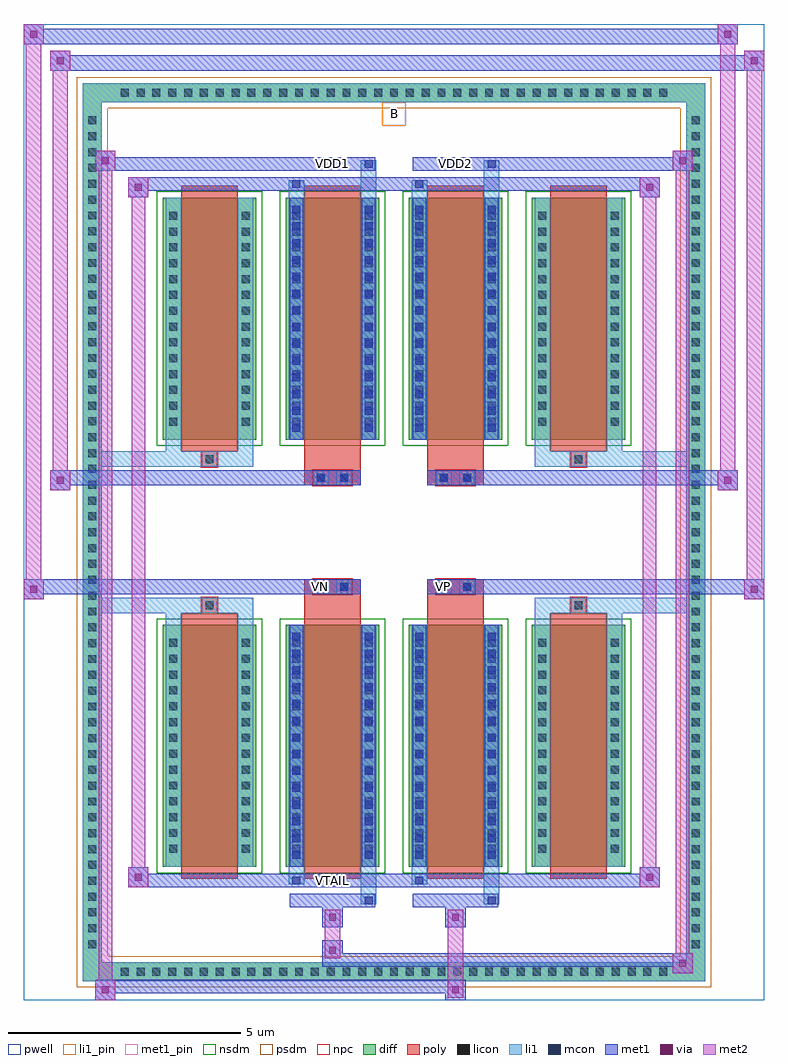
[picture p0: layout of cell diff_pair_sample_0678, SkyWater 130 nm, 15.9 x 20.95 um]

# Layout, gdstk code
import gdstk
lib = gdstk.Library(unit=1e-6, precision=5e-09)
def R(c, l, rs):  # rectangles x0, y0, x1, y1
    for r in rs: c.add(gdstk.rectangle(r[:2], r[2:], *l))
def A(c, l, x, y, w, h, nx, ny, dx, dy):  # array of equal rectangles
    R(c, l, [(x+i*dx, y+j*dy, x+i*dx+w, y+j*dy+h) for i in range(nx) for j in range(ny)])
def P(c, l, *ps):  # polygons
    for p in ps: c.add(gdstk.Polygon(p, *l))
pwell = (64, 44)
diff = (65, 20)
poly = (66, 20)
licon = (66, 44)
li1_pin = (67, 16)
li1 = (67, 20)
mcon = (67, 44)
met1_pin = (68, 16)
met1 = (68, 20)
via = (68, 44)
met2 = (69, 20)
nsdm = (93, 44)
psdm = (94, 20)
npc = (95, 20)

diff_pair_sample_0678 = lib.new_cell('diff_pair_sample_0678')
R(diff_pair_sample_0678, pwell, [(-7.95,-10.04,7.95,10.91), (-5.27,-8.23,-0.01,-0.805), (0.01,-8.23,5.27,-0.805), (-5.27,0.805,-0.01,8.23), (0.01,0.805,5.27,8.23)])
A(diff_pair_sample_0678, diff, -5.985, -9.64, 0.41, 0.41, 35, 2, 0.34, 18.87)
A(diff_pair_sample_0678, diff, -6.68, -9.045, 0.41, 0.41, 1, 53, 0, 0.34)
A(diff_pair_sample_0678, diff, 6.27, -9.045, 0.41, 0.41, 1, 53, 0, 0.34)
A(diff_pair_sample_0678, diff, -4.96, -7.185, 2, 5.2, 4, 2, 2.64, 9.17)
R(diff_pair_sample_0678, diff, [(-5.985,-9.64,5.985,-9.23), (-6.68,-9.045,-6.27,9.045), (6.27,-9.045,6.68,9.045), (-5.985,9.23,5.985,9.64)])
P(diff_pair_sample_0678, diff, [(6.68,9.64),(-6.68,9.64),(-6.68,-9.23),(-6.27,-9.23),(-6.27,9.23),(6.27,9.23),(6.27,-9.23),(-6.27,-9.23),(-6.68,-9.23),(-6.68,-9.64),(6.68,-9.64)])
A(diff_pair_sample_0678, poly, -4.57, -7.435, 1.22, 5.7, 4, 2, 2.64, 9.17)
R(diff_pair_sample_0678, poly, [(-4.125,-1.735,-3.795,-1.405), (-4.125,-1.735,-3.795,-1.405), (-1.93,-1.735,-0.71,-1.335), (0.71,-1.735,1.93,-1.335), (3.795,-1.735,4.125,-1.405), (3.795,-1.735,4.125,-1.405), (-1.93,-1.335,-0.71,-1.005), (-1.735,-1.335,-1.405,-1.005), (-1.235,-1.335,-0.905,-1.005), (0.71,-1.335,1.93,-1.005), (0.905,-1.335,1.235,-1.005), (1.405,-1.335,1.735,-1.005), (-1.93,1.005,-0.71,1.335), (-1.735,1.005,-1.405,1.335), (-1.235,1.005,-0.905,1.335), (0.71,1.005,1.93,1.335), (0.905,1.005,1.235,1.335), (1.405,1.005,1.735,1.335), (-1.93,1.335,-0.71,1.735), (0.71,1.335,1.93,1.735), (-4.125,1.405,-3.795,1.735), (-4.125,1.405,-3.795,1.735), (3.795,1.405,4.125,1.735), (3.795,1.405,4.125,1.735)])
A(diff_pair_sample_0678, licon, -5.865, -9.52, 0.17, 0.17, 35, 2, 0.34, 18.87)
A(diff_pair_sample_0678, licon, -6.56, -8.925, 0.17, 0.17, 1, 53, 0, 0.34)
A(diff_pair_sample_0678, licon, 6.39, -8.925, 0.17, 0.17, 1, 53, 0, 0.34)
A(diff_pair_sample_0678, licon, -4.82, -6.88, 0.17, 0.17, 1, 14, 0, 0.34)
A(diff_pair_sample_0678, licon, -3.27, -6.88, 0.17, 0.17, 1, 14, 0, 0.34)
A(diff_pair_sample_0678, licon, -2.18, -6.88, 0.17, 0.17, 1, 14, 0, 0.34)
A(diff_pair_sample_0678, licon, -0.63, -6.88, 0.17, 0.17, 1, 14, 0, 0.34)
A(diff_pair_sample_0678, licon, 0.46, -6.88, 0.17, 0.17, 1, 14, 0, 0.34)
A(diff_pair_sample_0678, licon, 2.01, -6.88, 0.17, 0.17, 1, 14, 0, 0.34)
A(diff_pair_sample_0678, licon, 3.1, -6.88, 0.17, 0.17, 1, 14, 0, 0.34)
A(diff_pair_sample_0678, licon, 4.65, -6.88, 0.17, 0.17, 1, 14, 0, 0.34)
A(diff_pair_sample_0678, licon, -4.82, 2.29, 0.17, 0.17, 1, 14, 0, 0.34)
A(diff_pair_sample_0678, licon, -3.27, 2.29, 0.17, 0.17, 1, 14, 0, 0.34)
A(diff_pair_sample_0678, licon, -2.18, 2.29, 0.17, 0.17, 1, 14, 0, 0.34)
A(diff_pair_sample_0678, licon, -0.63, 2.29, 0.17, 0.17, 1, 14, 0, 0.34)
A(diff_pair_sample_0678, licon, 0.46, 2.29, 0.17, 0.17, 1, 14, 0, 0.34)
A(diff_pair_sample_0678, licon, 2.01, 2.29, 0.17, 0.17, 1, 14, 0, 0.34)
A(diff_pair_sample_0678, licon, 3.1, 2.29, 0.17, 0.17, 1, 14, 0, 0.34)
A(diff_pair_sample_0678, licon, 4.65, 2.29, 0.17, 0.17, 1, 14, 0, 0.34)
R(diff_pair_sample_0678, licon, [(-4.045,-1.655,-3.875,-1.485), (3.875,-1.655,4.045,-1.485), (-1.655,-1.255,-1.485,-1.085), (-1.155,-1.255,-0.985,-1.085), (0.985,-1.255,1.155,-1.085), (1.485,-1.255,1.655,-1.085), (-1.655,1.085,-1.485,1.255), (-1.155,1.085,-0.985,1.255), (0.985,1.085,1.155,1.255), (1.485,1.085,1.655,1.255), (-4.045,1.485,-3.875,1.655), (3.875,1.485,4.045,1.655)])
R(diff_pair_sample_0678, li1_pin, [(-0.25,8.73,0.25,9.23)])
A(diff_pair_sample_0678, li1, -5.945, -9.6, 0.33, 0.33, 35, 2, 0.34, 18.87)
A(diff_pair_sample_0678, li1, -6.64, -9.005, 0.33, 0.33, 1, 53, 0, 0.34)
A(diff_pair_sample_0678, li1, 6.31, -9.005, 0.33, 0.33, 1, 53, 0, 0.34)
A(diff_pair_sample_0678, li1, -2.18, -7.01, 0.17, 0.17, 1, 14, 0, 0.36)
A(diff_pair_sample_0678, li1, -0.63, -7.01, 0.17, 0.17, 1, 14, 0, 0.36)
A(diff_pair_sample_0678, li1, 0.46, -7.01, 0.17, 0.17, 1, 14, 0, 0.36)
A(diff_pair_sample_0678, li1, 2.01, -7.01, 0.17, 0.17, 1, 14, 0, 0.36)
A(diff_pair_sample_0678, li1, -4.9, -6.96, 0.33, 0.33, 1, 14, 0, 0.34)
A(diff_pair_sample_0678, li1, -3.35, -6.96, 0.33, 0.33, 1, 14, 0, 0.34)
A(diff_pair_sample_0678, li1, -2.26, -6.96, 0.33, 0.33, 1, 14, 0, 0.34)
A(diff_pair_sample_0678, li1, -0.71, -6.96, 0.33, 0.33, 1, 14, 0, 0.34)
A(diff_pair_sample_0678, li1, 0.38, -6.96, 0.33, 0.33, 1, 14, 0, 0.34)
A(diff_pair_sample_0678, li1, 1.93, -6.96, 0.33, 0.33, 1, 14, 0, 0.34)
A(diff_pair_sample_0678, li1, 3.02, -6.96, 0.33, 0.33, 1, 14, 0, 0.34)
A(diff_pair_sample_0678, li1, 4.57, -6.96, 0.33, 0.33, 1, 14, 0, 0.34)
A(diff_pair_sample_0678, li1, -2.18, 2.16, 0.17, 0.17, 1, 14, 0, 0.36)
A(diff_pair_sample_0678, li1, -0.63, 2.16, 0.17, 0.17, 1, 14, 0, 0.36)
A(diff_pair_sample_0678, li1, 0.46, 2.16, 0.17, 0.17, 1, 14, 0, 0.36)
A(diff_pair_sample_0678, li1, 2.01, 2.16, 0.17, 0.17, 1, 14, 0, 0.36)
A(diff_pair_sample_0678, li1, -4.9, 2.21, 0.33, 0.33, 1, 14, 0, 0.34)
A(diff_pair_sample_0678, li1, -3.35, 2.21, 0.33, 0.33, 1, 14, 0, 0.34)
A(diff_pair_sample_0678, li1, -2.26, 2.21, 0.33, 0.33, 1, 14, 0, 0.34)
A(diff_pair_sample_0678, li1, -0.71, 2.21, 0.33, 0.33, 1, 14, 0, 0.34)
A(diff_pair_sample_0678, li1, 0.38, 2.21, 0.33, 0.33, 1, 14, 0, 0.34)
A(diff_pair_sample_0678, li1, 1.93, 2.21, 0.33, 0.33, 1, 14, 0, 0.34)
A(diff_pair_sample_0678, li1, 3.02, 2.21, 0.33, 0.33, 1, 14, 0, 0.34)
A(diff_pair_sample_0678, li1, 4.57, 2.21, 0.33, 0.33, 1, 14, 0, 0.34)
R(diff_pair_sample_0678, li1, [(-6.68,-9.64,-6.27,-9.23), (-6.68,-9.64,-6.27,-9.23), (-6.27,-9.64,6.27,-9.23), (6.27,-9.64,6.68,-9.23), (6.27,-9.64,6.68,-9.23), (-6.68,-9.23,-6.27,9.23), (6.27,-9.23,6.68,9.23), (-0.71,-7.99,-0.38,-7.185), (-0.63,-7.99,-0.46,-7.82), (1.93,-7.99,2.26,-7.185), (2.01,-7.99,2.18,-7.82), (-2.26,-7.56,-1.93,-7.185), (-2.18,-7.56,-2.01,-7.39), (0.38,-7.56,0.71,-7.185), (0.46,-7.56,0.63,-7.39), (-4.9,-7.185,-4.57,-1.985), (-3.35,-7.185,-3.02,-1.985), (-2.26,-7.185,-1.93,-1.985), (-0.71,-7.185,-0.38,-1.985), (0.38,-7.185,0.71,-1.985), (1.93,-7.185,2.26,-1.985), (3.02,-7.185,3.35,-1.985), (4.57,-7.185,4.9,-1.985), (-2.18,-7.01,-2.01,-2.16), (-0.63,-7.01,-0.46,-2.16), (0.46,-7.01,0.63,-2.16), (2.01,-7.01,2.18,-2.16), (-4.9,-1.985,-4.57,-1.405), (-3.35,-1.985,-3.02,-1.405), (3.02,-1.985,3.35,-1.405), (4.57,-1.985,4.9,-1.405), (-6.68,-1.735,-4.125,-1.405), (-4.9,-1.735,-4.125,-1.405), (-4.125,-1.735,-3.795,-1.405), (-3.795,-1.735,-3.02,-1.405), (3.02,-1.735,3.795,-1.405), (3.795,-1.735,4.125,-1.405), (3.795,-1.735,6.68,-1.405), (4.125,-1.735,4.9,-1.405), (-1.735,-1.335,-1.405,-1.005), (-1.235,-1.335,-0.905,-1.005), (0.905,-1.335,1.235,-1.005), (1.405,-1.335,1.735,-1.005), (-1.735,1.005,-1.405,1.335), (-1.235,1.005,-0.905,1.335), (0.905,1.005,1.235,1.335), (1.405,1.005,1.735,1.335), (-6.68,1.405,-4.125,1.735), (-4.9,1.405,-4.125,1.735), (-4.9,1.405,-4.57,1.985), (-4.125,1.405,-3.795,1.735), (-3.795,1.405,-3.02,1.735), (-3.35,1.405,-3.02,1.985), (3.02,1.405,3.795,1.735), (3.02,1.405,3.35,1.985), (3.795,1.405,4.125,1.735), (3.795,1.405,6.68,1.735), (4.125,1.405,4.9,1.735), (4.57,1.405,4.9,1.985), (-4.9,1.985,-4.57,7.185), (-3.35,1.985,-3.02,7.185), (-2.26,1.985,-1.93,7.185), (-0.71,1.985,-0.38,7.185), (0.38,1.985,0.71,7.185), (1.93,1.985,2.26,7.185), (3.02,1.985,3.35,7.185), (4.57,1.985,4.9,7.185), (-2.18,2.16,-2.01,7.01), (-0.63,2.16,-0.46,7.01), (0.46,2.16,0.63,7.01), (2.01,2.16,2.18,7.01), (-2.26,7.185,-1.93,7.56), (-0.71,7.185,-0.38,7.99), (0.38,7.185,0.71,7.56), (1.93,7.185,2.26,7.99), (-2.18,7.39,-2.01,7.56), (0.46,7.39,0.63,7.56), (-0.63,7.82,-0.46,7.99), (2.01,7.82,2.18,7.99), (-6.68,9.23,-6.27,9.64), (-6.68,9.23,-6.27,9.64), (-6.27,9.23,6.27,9.64), (6.27,9.23,6.68,9.64), (6.27,9.23,6.68,9.64)])
A(diff_pair_sample_0678, mcon, -2.18, -7.01, 0.17, 0.17, 1, 14, 0, 0.36)
A(diff_pair_sample_0678, mcon, -0.63, -7.01, 0.17, 0.17, 1, 14, 0, 0.36)
A(diff_pair_sample_0678, mcon, 0.46, -7.01, 0.17, 0.17, 1, 14, 0, 0.36)
A(diff_pair_sample_0678, mcon, 2.01, -7.01, 0.17, 0.17, 1, 14, 0, 0.36)
A(diff_pair_sample_0678, mcon, -2.18, 2.16, 0.17, 0.17, 1, 14, 0, 0.36)
A(diff_pair_sample_0678, mcon, -0.63, 2.16, 0.17, 0.17, 1, 14, 0, 0.36)
A(diff_pair_sample_0678, mcon, 0.46, 2.16, 0.17, 0.17, 1, 14, 0, 0.36)
A(diff_pair_sample_0678, mcon, 2.01, 2.16, 0.17, 0.17, 1, 14, 0, 0.36)
R(diff_pair_sample_0678, mcon, [(-0.63,-7.99,-0.46,-7.82), (2.01,-7.99,2.18,-7.82), (-2.18,-7.56,-2.01,-7.39), (0.46,-7.56,0.63,-7.39), (-1.655,-1.255,-1.485,-1.085), (-1.155,-1.255,-0.985,-1.085), (0.985,-1.255,1.155,-1.085), (1.485,-1.255,1.655,-1.085), (-1.655,1.085,-1.485,1.255), (-1.155,1.085,-0.985,1.255), (0.985,1.085,1.155,1.255), (1.485,1.085,1.655,1.255), (-2.18,7.39,-2.01,7.56), (0.46,7.39,0.63,7.56), (-0.63,7.82,-0.46,7.99), (2.01,7.82,2.18,7.99)])
R(diff_pair_sample_0678, met1_pin, [(-1.455,-7.6,-1.185,-7.33), (-1.705,-1.295,-1.435,-1.025), (0.935,-1.295,1.205,-1.025), (-1.455,7.78,-1.185,8.05), (1.185,7.78,1.455,8.05)])
A(diff_pair_sample_0678, met1, -2.24, -7.07, 0.29, 0.29, 1, 14, 0, 0.36)
A(diff_pair_sample_0678, met1, -0.69, -7.07, 0.29, 0.29, 1, 14, 0, 0.36)
A(diff_pair_sample_0678, met1, 0.4, -7.07, 0.29, 0.29, 1, 14, 0, 0.36)
A(diff_pair_sample_0678, met1, 1.95, -7.07, 0.29, 0.29, 1, 14, 0, 0.36)
A(diff_pair_sample_0678, met1, -2.24, 2.1, 0.29, 0.29, 1, 14, 0, 0.36)
A(diff_pair_sample_0678, met1, -0.69, 2.1, 0.29, 0.29, 1, 14, 0, 0.36)
A(diff_pair_sample_0678, met1, 0.4, 2.1, 0.29, 0.29, 1, 14, 0, 0.36)
A(diff_pair_sample_0678, met1, 1.95, 2.1, 0.29, 0.29, 1, 14, 0, 0.36)
R(diff_pair_sample_0678, met1, [(-6.41,-10.04,-5.98,-9.61), (1.105,-10.04,1.535,-9.61), (-6.41,-9.9,1.535,-9.61), (5.98,-9.47,6.41,-9.04), (-1.535,-9.33,6.41,-9.04), (-1.535,-9.19,-1.105,-8.76), (-1.535,-8.48,-1.105,-8.05), (1.105,-8.48,1.535,-8.05), (-2.24,-8.05,-0.4,-7.76), (-0.69,-8.05,-0.4,-7.76), (0.4,-8.05,2.24,-7.76), (1.95,-8.05,2.24,-7.76), (-5.7,-7.62,-5.27,-7.19), (-5.7,-7.62,-2.24,-7.33), (-2.24,-7.62,-1.95,-7.33), (-2.24,-7.62,-0.4,-7.33), (-0.4,-7.62,0.4,-7.33), (0.4,-7.62,0.69,-7.33), (0.4,-7.62,2.24,-7.33), (2.24,-7.62,5.7,-7.33), (5.27,-7.62,5.7,-7.19), (-2.24,-7.185,-1.95,-1.985), (-0.69,-7.185,-0.4,-1.985), (0.4,-7.185,0.69,-1.985), (1.95,-7.185,2.24,-1.985), (-7.95,-1.435,-7.52,-1.005), (7.52,-1.435,7.95,-1.005), (-7.95,-1.335,-0.71,-1.005), (-1.93,-1.335,-0.71,-1.005), (0.71,-1.335,1.93,-1.005), (0.71,-1.335,7.95,-1.005), (-1.715,-1.315,-1.425,-1.025), (-1.215,-1.315,-0.925,-1.025), (0.925,-1.315,1.215,-1.025), (1.425,-1.315,1.715,-1.025), (-7.38,0.905,-6.95,1.335), (6.95,0.905,7.38,1.335), (-7.38,1.005,-1.93,1.335), (-1.93,1.005,-0.71,1.335), (0.71,1.005,1.93,1.335), (1.93,1.005,7.38,1.335), (-1.715,1.025,-1.425,1.315), (-1.215,1.025,-0.925,1.315), (0.925,1.025,1.215,1.315), (1.425,1.025,1.715,1.315), (-2.24,1.985,-1.95,7.185), (-0.69,1.985,-0.4,7.185), (0.4,1.985,0.69,7.185), (1.95,1.985,2.24,7.185), (-5.7,7.19,-5.27,7.62), (5.27,7.19,5.7,7.62), (-5.7,7.33,-2.24,7.62), (-2.24,7.33,-1.95,7.62), (-2.24,7.33,-0.4,7.62), (-0.4,7.33,0.4,7.62), (0.4,7.33,0.69,7.62), (0.4,7.33,2.24,7.62), (2.24,7.33,5.7,7.62), (-6.41,7.76,-5.98,8.19), (-6.41,7.76,-2.24,8.05), (-2.24,7.76,-0.4,8.05), (-0.69,7.76,-0.4,8.05), (0.4,7.76,2.24,8.05), (1.95,7.76,2.24,8.05), (2.24,7.76,6.41,8.05), (5.98,7.76,6.41,8.19), (-7.38,9.91,-6.95,10.34), (-7.38,9.91,-5.27,10.24), (-5.27,9.91,5.27,10.24), (5.27,9.91,7.95,10.24), (7.52,9.91,7.95,10.34), (-7.95,10.48,-7.52,10.91), (-7.95,10.48,-5.27,10.81), (-5.27,10.48,5.27,10.81), (5.27,10.48,7.38,10.81), (6.95,10.48,7.38,10.91)])
R(diff_pair_sample_0678, via, [(-6.27,-9.9,-6.12,-9.75), (1.245,-9.9,1.395,-9.75), (6.12,-9.33,6.27,-9.18), (-1.395,-9.05,-1.245,-8.9), (-1.395,-8.34,-1.245,-8.19), (1.245,-8.34,1.395,-8.19), (-5.56,-7.48,-5.41,-7.33), (5.41,-7.48,5.56,-7.33), (-7.81,-1.295,-7.66,-1.145), (7.66,-1.295,7.81,-1.145), (-7.24,1.045,-7.09,1.195), (7.09,1.045,7.24,1.195), (-5.56,7.33,-5.41,7.48), (5.41,7.33,5.56,7.48), (-6.27,7.9,-6.12,8.05), (6.12,7.9,6.27,8.05), (-7.24,10.05,-7.09,10.2), (7.66,10.05,7.81,10.2), (-7.81,10.62,-7.66,10.77), (7.09,10.62,7.24,10.77)])
R(diff_pair_sample_0678, met2, [(-6.41,-10.04,-5.98,-9.61), (-6.34,-10.04,-6.05,8.19), (-6.05,-10.04,-5.98,-9.61), (-6.36,-9.99,-6.03,-9.66), (1.155,-9.99,1.485,-9.66), (1.155,-9.66,1.485,-8.43), (5.98,-9.47,6.41,-9.04), (6.05,-9.47,6.34,8.19), (6.34,-9.47,6.41,-9.04), (6.03,-9.42,6.36,-9.09), (-1.485,-9.14,-1.155,-8.81), (-1.485,-8.81,-1.155,-8.43), (-1.485,-8.43,-1.155,-8.1), (1.155,-8.43,1.485,-8.1), (-5.7,-7.62,-5.27,-7.19), (-5.63,-7.62,-5.34,7.62), (-5.34,-7.62,-5.27,-7.19), (5.27,-7.62,5.7,-7.19), (5.34,-7.62,5.63,7.62), (5.63,-7.62,5.7,-7.19), (-5.65,-7.57,-5.32,-7.24), (5.32,-7.57,5.65,-7.24), (-7.95,-1.435,-7.52,-1.005), (-7.9,-1.435,-7.57,10.91), (-7.57,-1.435,-7.52,-1.005), (7.52,-1.435,7.95,-1.005), (7.57,-1.435,7.9,10.34), (7.9,-1.435,7.95,-1.005), (-7.9,-1.385,-7.57,-1.055), (7.57,-1.385,7.9,-1.055), (-7.38,0.905,-6.95,1.335), (-7.33,0.905,-7,10.34), (-7,0.905,-6.95,1.335), (6.95,0.905,7.38,1.335), (7,0.905,7.33,10.91), (7.33,0.905,7.38,1.335), (-7.33,0.955,-7,1.285), (7,0.955,7.33,1.285), (-5.7,7.19,-5.27,7.62), (-5.34,7.19,-5.27,7.62), (5.27,7.19,5.7,7.62), (5.63,7.19,5.7,7.62), (-5.65,7.24,-5.32,7.57), (5.32,7.24,5.65,7.57), (-6.41,7.76,-5.98,8.19), (-6.05,7.76,-5.98,8.19), (5.98,7.76,6.41,8.19), (6.34,7.76,6.41,8.19), (-6.36,7.81,-6.03,8.14), (6.03,7.81,6.36,8.14), (-7.38,9.91,-6.95,10.34), (-7,9.91,-6.95,10.34), (7.52,9.91,7.95,10.34), (7.9,9.91,7.95,10.34), (-7.33,9.96,-7,10.29), (7.57,9.96,7.9,10.29), (-7.95,10.48,-7.52,10.91), (-7.57,10.48,-7.52,10.91), (6.95,10.48,7.38,10.91), (7.33,10.48,7.38,10.91), (-7.9,10.53,-7.57,10.86), (7,10.53,7.33,10.86)])
A(diff_pair_sample_0678, nsdm, -5.09, -7.315, 2.26, 5.46, 4, 2, 2.64, 9.17)
P(diff_pair_sample_0678, psdm, [(6.81,9.77),(-6.81,9.77),(-6.81,-9.1),(-6.14,-9.1),(-6.14,9.1),(6.14,9.1),(6.14,-9.1),(-6.14,-9.1),(-6.81,-9.1),(-6.81,-9.77),(6.81,-9.77)])
R(diff_pair_sample_0678, npc, [(-4.145,-1.755,-3.775,-1.385), (3.775,-1.755,4.145,-1.385), (-1.755,-1.355,-1.385,-0.985), (-1.755,-1.355,-0.885,-0.985), (-1.755,-1.355,-0.885,-0.985), (-1.255,-1.355,-0.885,-0.985), (0.885,-1.355,1.255,-0.985), (0.885,-1.355,1.755,-0.985), (0.885,-1.355,1.755,-0.985), (1.385,-1.355,1.755,-0.985), (-1.755,0.985,-1.385,1.355), (-1.755,0.985,-0.885,1.355), (-1.755,0.985,-0.885,1.355), (-1.255,0.985,-0.885,1.355), (0.885,0.985,1.255,1.355), (0.885,0.985,1.755,1.355), (0.885,0.985,1.755,1.355), (1.385,0.985,1.755,1.355), (-4.145,1.385,-3.775,1.755), (3.775,1.385,4.145,1.755)])
diff_pair_sample_0678.add(gdstk.Label('VTAIL', (-1.32,-7.465), layer=68, texttype=5))
diff_pair_sample_0678.add(gdstk.Label('VN', (-1.57,-1.16), layer=68, texttype=5))
diff_pair_sample_0678.add(gdstk.Label('VP', (1.07,-1.16), layer=68, texttype=5))
diff_pair_sample_0678.add(gdstk.Label('B', (0,8.98), layer=67, texttype=5))
diff_pair_sample_0678.add(gdstk.Label('VDD2', (1.32,7.915), layer=68, texttype=5))
diff_pair_sample_0678.add(gdstk.Label('VDD1', (-1.32,7.915), layer=68, texttype=5))

lib.write_gds('diff_pair_sample_0678.gds')
